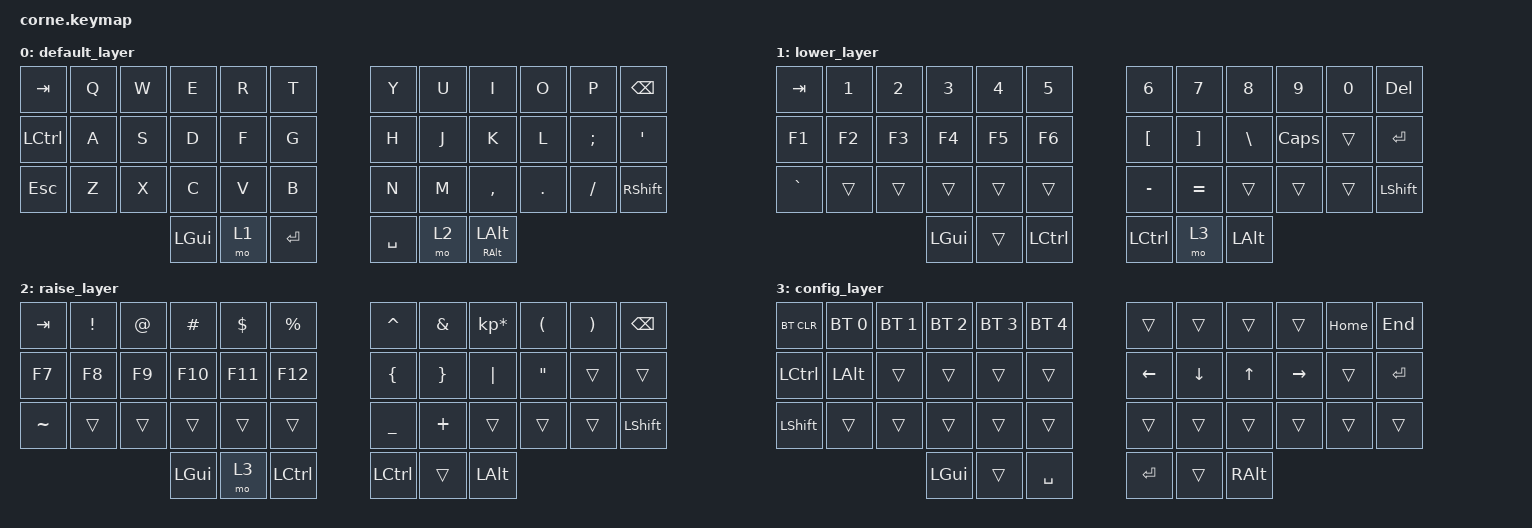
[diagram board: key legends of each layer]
/*
 * Copyright (c) 2020 The ZMK Contributors
 *
 * SPDX-License-Identifier: MIT
 */

#include <behaviors.dtsi>
#include <dt-bindings/zmk/keys.h>
#include <dt-bindings/zmk/bt.h>

&mt {
    tapping-term-ms = <400>; // This is the value already set by default
};

/ {
        keymap {
                compatible = "zmk,keymap";

                default_layer {
                      bindings = <
        &kp TAB   &kp Q &kp W &kp E &kp R &kp T      &kp Y &kp U &kp I &kp O &kp P    &kp BSPC
        &kp LCTRL &kp A &kp S &kp D &kp F &kp G      &kp H &kp J &kp K &kp L &kp SEMI &kp SQT
        &kp ESC &kp Z &kp X &kp C &kp V &kp B      &kp N &kp M &kp COMMA &kp DOT &kp FSLH &kp RSHFT
                    &kp LGUI &mo 1 &kp RET            &kp SPACE &mo 2 &mt RALT LALT  // Hold = RALT, Tap = LALT
                      >;
                };

                lower_layer {
// -----------------------------------------------------------------------------------------
// |  TAB |  1  |  2  |  3  |  4  |   5  |   |  6   |  7  |  8  |  9  |  0  | DEL |
// |  F1  |  F2 | F3  | F4  | F5  |  F6  |   |  [   |  ]  |  \  |  '  |     | ENT |
// | SHFT |     |     |     |     |      |   |  -   |  =  |     |     |     |  `  |
//                    | MAC |     | CTRL |   | CTRL | LY3 | ALT |
                        bindings = <
   &kp TAB    &kp N1   &kp N2  &kp N3   &kp N4   &kp N5      &kp N6     &kp N7     &kp N8    &kp N9   &kp N0  &kp DEL
   &kp F1     &kp F2   &kp F3  &kp F4   &kp F5   &kp F6      &kp LBKT   &kp RBKT   &kp BSLH  &kp CAPS  &trans  &kp RET
   &kp GRAVE  &trans   &trans  &trans   &trans   &trans      &kp MINUS  &kp EQUAL  &trans    &trans   &trans  &kp LSHFT
                         &kp LGUI    &trans   &kp LCTRL    &kp LCTRL  &mo 3   &kp LALT
                        >;
                };

                raise_layer {
// -----------------------------------------------------------------------------------------
// |  TAB |  !  |  @  |  #  |  $  |  %  |      |  ^   |  &  |  *  |  (  |  )  |      |
// |  F7  |  F8 | F9  | F10 | F11 | F12 |      |  {   |  }  | "|" |  "  |     |      |
// | SHFT |     |     |     |     |     |      |  _   |  +  |     |     |     |  ~   |
//                    | MAC  |  LY3  | CTRL |   | CTRL |     | ALT |
                        bindings = <
   &kp  TAB  &kp EXCL &kp AT  &kp HASH   &kp DLLR  &kp PRCNT     &kp CARET &kp AMPS  &kp KP_MULTIPLY &kp LPAR &kp RPAR &kp BSPC
   &kp  F7   &kp F8   &kp F9  &kp F10    &kp F11   &kp F12       &kp LBRC  &kp RBRC  &kp PIPE        &kp DQT  &trans   &trans
   &kp TILDE &trans   &trans  &trans     &trans    &trans       &kp UNDER &kp PLUS  &trans          &trans   &trans   &kp LSHFT
                             &kp LGUI &mo 3   &kp LCTRL   &kp LCTRL    &trans    &kp LALT
                        >;
                };

                config_layer {
// -----------------------------------------------------------------------------------------
// | BTCLR| BT1 | BT2 | BT3 | BT4 | BT5 |   |     |     |  UP |     | HOME |  END | 
// | CTRL | ALT |     |     |     |     |   |     | LFT | DWN | RGT |      |  ENT |
// | SHFT |     |     |     |     |     |   |     |     |     |     |      |      |
//                    | MAC |     | SPC |   | ENT |     | ALT |
                        bindings = <
   &bt BT_CLR  &bt BT_SEL 0 &bt BT_SEL 1 &bt BT_SEL 2 &bt BT_SEL 3 &bt BT_SEL 4      &trans    &trans    &trans    &trans     &kp HOME  &kp END
   &kp LCTRL   &kp LALT     &trans       &trans       &trans       &trans            &kp LEFT    &kp DOWN  &kp UP  &kp RIGHT  &trans    &kp RET
   &kp LSHFT   &trans       &trans       &trans       &trans       &trans            &trans    &trans    &trans    &trans     &trans    &trans
                             &kp LGUI &trans   &kp SPACE   &kp RET   &trans    &kp RALT
                        >;
                };
        };
};
